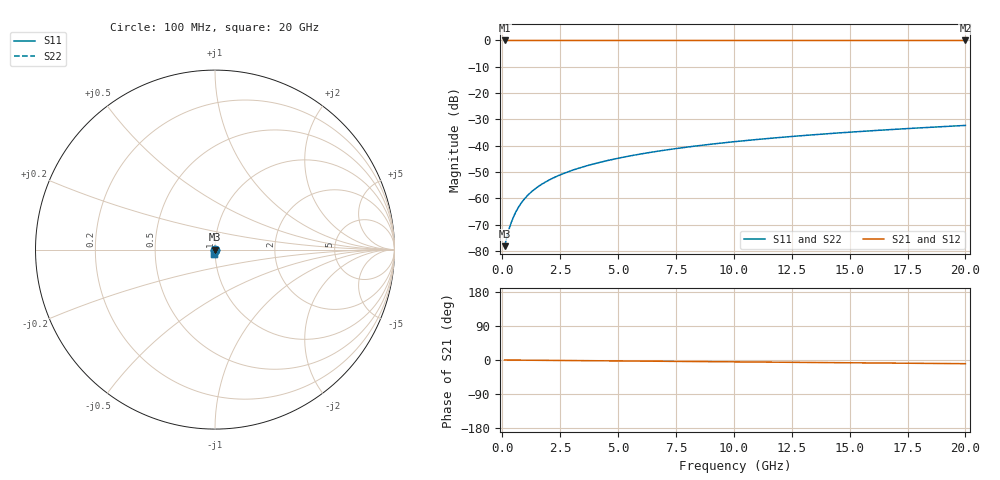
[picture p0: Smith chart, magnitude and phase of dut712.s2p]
! Touchstone file exported from HFSS 2026.1.0
!  File:  C:/ffzhzh/LocalFiles/Ansys_Project_Files/temp_train_TSV_712_1783182087_18472.aedt
!  Generated:  12:22:43 AM Jul  5, 2026
!  Design:  TSV
!  Project:  temp_train_TSV_712_1783182087_18472
! Variables:
!  h_bsmrdl = 2um
!  h_ox = 20um
!  h_rdl = 5um
!  h_sub = 99.75um
!  h_tmrdl = 5um
!  h_tsv = 99.75um
!  h_via = 3um
!  l_bsmrdl = 300um
!  l_sub = 426.42um
!  l_tmrdl = 200um
!  m_sub = 200um
!  pitch = 46.25um
!  r_tsv = 13.21um
!  s_tmrdl = 10um
!  w_bsmrdl = 18um
!  w_sub = 500um
!  w_tmrdl = 12um
!  x_tsv_center1 = 206um
!  x_tsv_center2 = 524um
!  x_tsv_center3 = 736um
!  x_tsv_center4 = 1054um
!  x_tsv_center5 = 1266um
!  x_tsv_center6 = 1584um
# GHz S MA R 50.000000
! Terminal data exported
! Port[1] = TSV1_1_T1
! Port[2] = TSV1_1_T2
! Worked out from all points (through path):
!   200 points, 100 MHz to 20 GHz, reference 50 ohm
!   highest |S21| = 0.00 dB at 100 MHz (marker M1); lowest = 0.0 dB at 20 GHz (marker M2)
!   group delay of S21, straight-line fit = 1.35 ps
!   lowest |S11| = -78.2 dB at 100 MHz (marker M3), VSWR 1.00, Z = 50 - j0.00697 ohm
!   |S11| at or under -10 dB: start of sweep to end of sweep
!   |S22| runs from -78.2 to -32.3 dB; largest |S21 - S12| = 3e-15
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0.1  0.0001231 -34.5  0.9999 -0.1  0.9999 -0.1  0.0001231 -34.5
! Gamma 0 0 0 0
! Port Impedance 50 0 50 0
0.2  0.0001862 -50.7  0.9999 -0.1  0.9999 -0.1  0.0001862 -50.7
0.3  0.0002669 -57.8  0.9999 -0.2  0.9999 -0.2  0.0002669 -57.8
0.4  0.0003592 -61.8  0.9998 -0.2  0.9998 -0.2  0.0003592 -61.8
0.5  0.00046 -64.4  0.9998 -0.3  0.9998 -0.3  0.00046 -64.4
0.6  0.000567 -66.5  0.9998 -0.3  0.9998 -0.3  0.000567 -66.5
0.8  0.0007919 -69.9  0.9997 -0.4  0.9997 -0.4  0.0007919 -69.9
1.1  0.001141 -73.6  0.9997 -0.5  0.9997 -0.5  0.001141 -73.6
1.3  0.001376 -75.5  0.9996 -0.6  0.9996 -0.6  0.001376 -75.5
1.5  0.001611 -77.0  0.9996 -0.7  0.9996 -0.7  0.001611 -77.0
1.8  0.001964 -78.8  0.9996 -0.9  0.9996 -0.9  0.001964 -78.8
2.1  0.002317 -80.2  0.9996 -1.0  0.9996 -1.0  0.002317 -80.2
2.7  0.003023 -82.1  0.9995 -1.3  0.9995 -1.3  0.003023 -82.1
3.5  0.003971 -83.9  0.9994 -1.7  0.9994 -1.7  0.003971 -83.9
4.2  0.004807 -85.0  0.9994 -2.1  0.9994 -2.1  0.004807 -85.0
5  0.005769 -86.0  0.9993 -2.5  0.9993 -2.5  0.005769 -86.0
6.8  0.007957 -87.8  0.9992 -3.3  0.9992 -3.3  0.007957 -87.8
8.3  0.009795 -89.1  0.9991 -4.1  0.9991 -4.1  0.009795 -89.1
10.1  0.01201 -90.5  0.999 -4.9  0.999 -4.9  0.01201 -90.5
13.4  0.01608 -92.7  0.9988 -6.5  0.9988 -6.5  0.01608 -92.7
16.7  0.02016 -94.7  0.9986 -8.1  0.9986 -8.1  0.02016 -94.7
20  0.02426 -96.6  0.9984 -9.7  0.9984 -9.7  0.02426 -96.6
